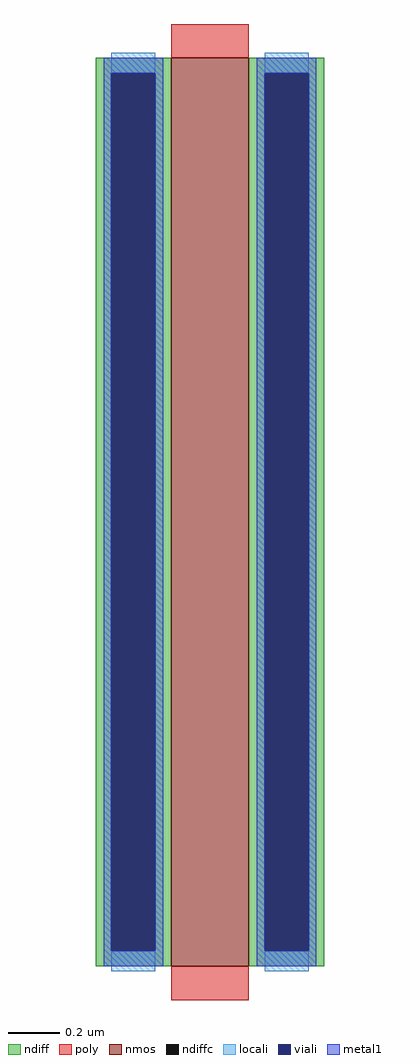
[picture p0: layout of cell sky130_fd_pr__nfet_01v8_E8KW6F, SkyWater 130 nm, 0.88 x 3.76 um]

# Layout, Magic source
magic
tech sky130A
<< nmos >>
rect -15 -175 15 175
<< ndiff >>
rect -44 169 -15 175
rect -44 -169 -38 169
rect -21 -169 -15 169
rect -44 -175 -15 -169
rect 15 169 44 175
rect 15 -169 21 169
rect 38 -169 44 169
rect 15 -175 44 -169
<< ndiffc >>
rect -38 -169 -21 169
rect 21 -169 38 169
<< poly >>
rect -15 175 15 188
rect -15 -188 15 -175
<< locali >>
rect -38 169 -21 177
rect -38 -177 -21 -169
rect 21 169 38 177
rect 21 -177 38 -169
<< viali >>
rect -38 -169 -21 169
rect 21 -169 38 169
<< metal1 >>
rect -41 169 -18 175
rect -41 -169 -38 169
rect -21 -169 -18 169
rect -41 -175 -18 -169
rect 18 169 41 175
rect 18 -169 21 169
rect 38 -169 41 169
rect 18 -175 41 -169
<< properties >>
string gencell sky130_fd_pr__nfet_01v8
string library sky130
string parameters w 3.5 l 0.3 m 1 nf 1 diffcov 100 polycov 100 guard 0 glc 1 grc 1 gtc 1 gbc 1 tbcov 100 rlcov 100 topc 0 botc 0 poverlap 0 doverlap 1 lmin 0.15 wmin 0.42 compatible {sky130_fd_pr__nfet_01v8 sky130_fd_pr__nfet_01v8_lvt  sky130_fd_bs_flash__special_sonosfet_star  sky130_fd_pr__nfet_g5v0d10v5 sky130_fd_pr__nfet_05v0_nvt  sky130_fd_pr__nfet_03v3_nvt} full_metal 1 viasrc 100 viadrn 100 viagate 100 viagb 0 viagr 0 viagl 0 viagt 0
<< end >>
